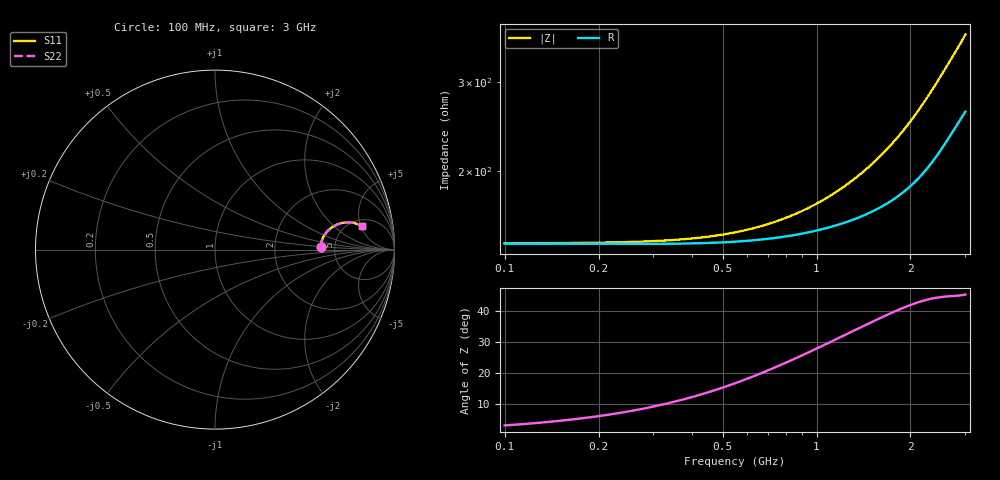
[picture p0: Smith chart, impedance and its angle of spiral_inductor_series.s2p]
! openEMS square spiral inductor as an ideal series two-port
! Dout=100um w=1um s=1um turns=7 layers=2
# HZ S RI R 50
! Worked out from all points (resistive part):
!   151 points, 100 MHz to 3 GHz, reference 50 ohm
!   read as one part in series: R = 143 ohm at 100 MHz
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1e8  0.5895 0.0124  0.4105 -0.0124  0.4105 -0.0124  0.5895 0.0124
2.353333e8  0.5909 0.0297  0.4091 -0.0297  0.4091 -0.0297  0.5909 0.0297
3.513333e8  0.594 0.045  0.406 -0.045  0.406 -0.045  0.594 0.045
4.673333e8  0.599 0.06  0.401 -0.06  0.401 -0.06  0.599 0.06
6.026667e8  0.6071 0.0764  0.3929 -0.0764  0.3929 -0.0764  0.6071 0.0764
7.186667e8  0.6156 0.0891  0.3844 -0.0891  0.3844 -0.0891  0.6156 0.0891
8.346667e8  0.6251 0.1006  0.3749 -0.1006  0.3749 -0.1006  0.6251 0.1006
9.506667e8  0.6354 0.1108  0.3646 -0.1108  0.3646 -0.1108  0.6354 0.1108
1.066667e9  0.6463 0.1196  0.3537 -0.1196  0.3537 -0.1196  0.6463 0.1196
1.182667e9  0.6575 0.1273  0.3425 -0.1273  0.3425 -0.1273  0.6575 0.1273
1.298667e9  0.669 0.1339  0.331 -0.1339  0.331 -0.1339  0.669 0.1339
1.414667e9  0.6807 0.1394  0.3193 -0.1394  0.3193 -0.1394  0.6807 0.1394
1.55e9  0.6945 0.1446  0.3055 -0.1446  0.3055 -0.1446  0.6945 0.1446
1.666e9  0.7063 0.1479  0.2937 -0.1479  0.2937 -0.1479  0.7063 0.1479
1.801333e9  0.7201 0.1506  0.2799 -0.1506  0.2799 -0.1506  0.7201 0.1506
1.917333e9  0.7318 0.1518  0.2682 -0.1518  0.2682 -0.1518  0.7318 0.1518
2.052667e9  0.7452 0.1521  0.2548 -0.1521  0.2548 -0.1521  0.7452 0.1521
2.265333e9  0.7653 0.1501  0.2347 -0.1501  0.2347 -0.1501  0.7653 0.1501
2.400667e9  0.7772 0.1475  0.2228 -0.1475  0.2228 -0.1475  0.7772 0.1475
2.516667e9  0.7867 0.1447  0.2133 -0.1447  0.2133 -0.1447  0.7867 0.1447
2.71e9  0.8009 0.1392  0.1991 -0.1392  0.1991 -0.1392  0.8009 0.1392
3e9  0.8203 0.1316  0.1797 -0.1316  0.1797 -0.1316  0.8203 0.1316
